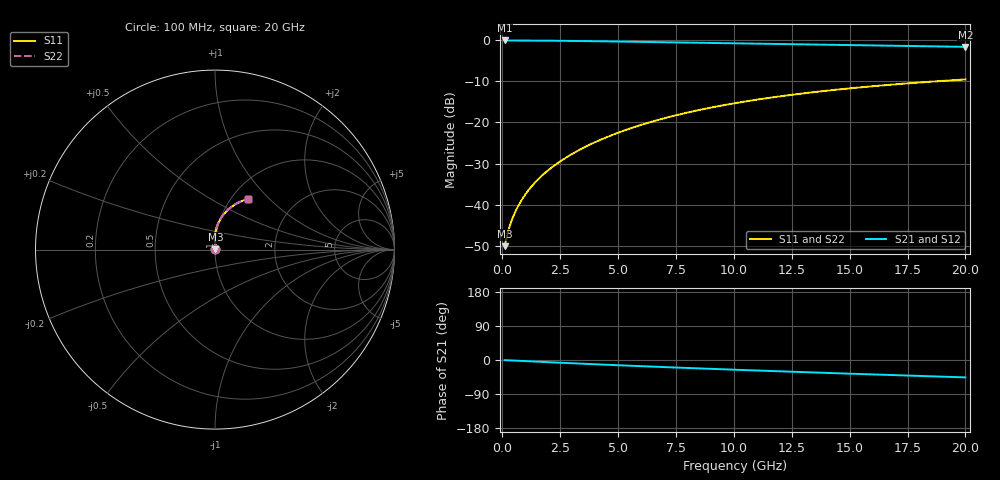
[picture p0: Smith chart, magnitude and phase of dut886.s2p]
! Touchstone file exported from HFSS 2024.1.0
!  File:  C:/UserFiles/LocalFiles/RDL_TSV_Batchsim/temp_RDL_bottom_886_1779865685.aedt
!  Generated:  03:10:26 PM May 27, 2026
!  Design:  RDL_bottom
!  Project:  temp_RDL_bottom_886_1779865685
!  Setup:  Setup1
!  Solution:  Sweep
! Variables:
!  dtsv = 10.80580581um
!  hbump = 3um
!  htsv = 67.46um
!  ldown = 689.88um
!  lrdl = 100um
!  p = 40
!  p1 = 52.99um
!  rhole = 1um
!  t = 450um
!  tdown = 3.44um
!  trdl = 3.915915916um
!  wdown = 29.27um
!  wrdl = 20um
# GHz S MA R 50.000000
! Terminal data exported
! Port[1] = RDL1_T1
! Port[2] = RDL1_T2
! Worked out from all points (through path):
!   200 points, 100 MHz to 20 GHz, reference 50 ohm
!   highest |S21| = -0.02 dB at 100 MHz (marker M1); lowest = -1.6 dB at 20 GHz (marker M2)
!   group delay of S21, straight-line fit = 6.27 ps
!   lowest |S11| = -50.1 dB at 100 MHz (marker M3), VSWR 1.01, Z = 50.3 + j0.158 ohm
!   |S11| at or under -10 dB: start of sweep to 18.67 GHz
!   |S22| runs from -50.1 to -9.5 dB; largest |S21 - S12| = 2.3e-14
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0.1  0.003118 30.2  0.9973 -0.3  0.9973 -0.3  0.003118 30.2
! Gamma 0 0 0 0
! Port Impedance 50 0 50 0
0.2  0.00416 45.9  0.997 -0.6  0.997 -0.6  0.00416 45.9
0.3  0.005267 54.4  0.9968 -0.9  0.9968 -0.9  0.005267 54.4
0.4  0.006369 60.1  0.9965 -1.2  0.9965 -1.2  0.006369 60.2
0.5  0.00748 64.5  0.9963 -1.5  0.9963 -1.5  0.007479 64.5
0.8  0.01094 73.1  0.9956 -2.3  0.9956 -2.3  0.01094 73.2
1  0.01335 76.8  0.995 -2.9  0.995 -2.9  0.01335 76.9
1.2  0.01584 79.6  0.9944 -3.5  0.9944 -3.5  0.01584 79.6
1.7  0.02235 84.1  0.9924 -4.9  0.9924 -4.9  0.02235 84.2
2.2  0.02926 86.8  0.9898 -6.3  0.9898 -6.3  0.02927 86.9
2.8  0.03808 88.8  0.9861 -8.0  0.9861 -8.0  0.0381 88.9
3.5  0.04909 90.0  0.9809 -9.9  0.9809 -9.9  0.04913 90.1
4.2  0.06082 90.3  0.9752 -11.8  0.9752 -11.8  0.0609 90.5
5  0.07499 90.0  0.968 -13.8  0.968 -13.8  0.0751 90.1
5.9  0.09166 88.9  0.9596 -16.1  0.9596 -16.1  0.09183 89.1
6.8  0.1088 87.4  0.951 -18.3  0.951 -18.3  0.1091 87.5
8.4  0.1399 84.0  0.9356 -22.0  0.9356 -22.0  0.1403 84.1
10.1  0.1728 80.0  0.9196 -25.8  0.9196 -25.8  0.1732 80.1
11.7  0.2028 76.0  0.9049 -29.3  0.9049 -29.3  0.2033 76.2
13.4  0.2332 71.9  0.8896 -32.8  0.8896 -32.8  0.2339 72.1
16.7  0.2873 64.2  0.861 -39.5  0.861 -39.5  0.2882 64.4
20  0.3342 57.1  0.8336 -45.9  0.8336 -45.9  0.3353 57.3
